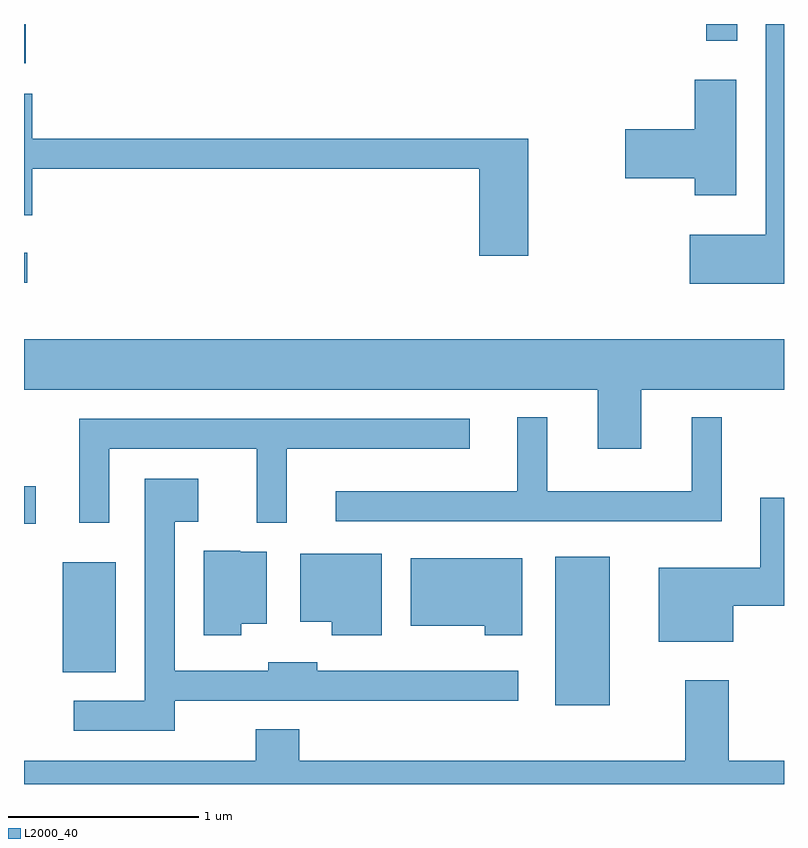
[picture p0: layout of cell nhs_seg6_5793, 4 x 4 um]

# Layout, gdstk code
import gdstk
lib = gdstk.Library(unit=1e-6, precision=1e-09)
def R(c, l, rs):  # rectangles x0, y0, x1, y1
    for r in rs: c.add(gdstk.rectangle(r[:2], r[2:], *l))
def P(c, l, *ps):  # polygons
    for p in ps: c.add(gdstk.Polygon(p, *l))
L2000_40 = (2000, 40)

nhs_seg6_5793 = lib.new_cell('nhs_seg6_5793')
R(nhs_seg6_5793, L2000_40, [(364.406,1570.576,364.694,1571.359), (361.816,1570.751,362.094,1571.329), (361.611,1571.531,361.674,1571.729), (361.611,1572.801,361.628,1572.959), (361.611,1573.956,361.619,1574.162), (365.201,1574.073,365.364,1574.162)])
P(nhs_seg6_5793, L2000_40, [(365.611,1574.162),(365.516,1574.162),(365.516,1573.054),(365.116,1573.054),(365.116,1572.796),(365.611,1572.796)],
  [(365.359,1573.869),(365.141,1573.869),(365.141,1573.609),(364.776,1573.609),(364.776,1573.351),(365.141,1573.351),(365.141,1573.261),(365.359,1573.261)],
  [(364.264,1573.559),(361.654,1573.559),(361.654,1573.794),(361.611,1573.794),(361.611,1573.156),(361.654,1573.156),(361.654,1573.401),(364.006,1573.401),(364.006,1572.941),(364.264,1572.941)],
  [(364.859,1572.236),(365.611,1572.236),(365.611,1572.504),(361.611,1572.504),(361.611,1572.236),(364.631,1572.236),(364.631,1571.926),(364.859,1571.926)],
  [(365.284,1572.093),(365.126,1572.093),(365.126,1571.704),(364.364,1571.704),(364.364,1572.093),(364.206,1572.093),(364.206,1571.704),(363.253,1571.704),(363.253,1571.546),(365.284,1571.546)],
  [(362.059,1571.926),(362.836,1571.926),(362.836,1571.538),(362.994,1571.538),(362.994,1571.926),(363.958,1571.926),(363.958,1572.084),(361.901,1572.084),(361.901,1571.538),(362.059,1571.538)],
  [(362.404,1570.601),(364.213,1570.601),(364.213,1570.759),(363.154,1570.759),(363.154,1570.804),(362.896,1570.804),(362.896,1570.759),(362.404,1570.759),(362.404,1571.541),(362.529,1571.541),(362.529,1571.769),(362.246,1571.769),(362.246,1570.599),(361.873,1570.599),(361.873,1570.441),(362.404,1570.441)],
  [(365.344,1571.101),(365.611,1571.101),(365.611,1571.669),(365.486,1571.669),(365.486,1571.299),(364.951,1571.299),(364.951,1570.911),(365.344,1570.911)],
  [(362.754,1571.006),(362.889,1571.006),(362.889,1571.384),(362.75,1571.384),(362.75,1571.389),(362.556,1571.389),(362.556,1570.946),(362.754,1570.946)],
  [(363.494,1571.374),(363.066,1571.374),(363.066,1571.016),(363.231,1571.016),(363.231,1570.946),(363.494,1570.946)],
  [(364.234,1571.349),(363.646,1571.349),(363.646,1570.996),(364.036,1570.996),(364.036,1570.946),(364.234,1570.946)],
  [(365.611,1570.284),(365.319,1570.284),(365.319,1570.709),(365.091,1570.709),(365.091,1570.284),(363.059,1570.284),(363.059,1570.449),(362.831,1570.449),(362.831,1570.284),(361.611,1570.284),(361.611,1570.162),(365.611,1570.162)])

lib.write_gds('nhs_seg6_5793.gds')
